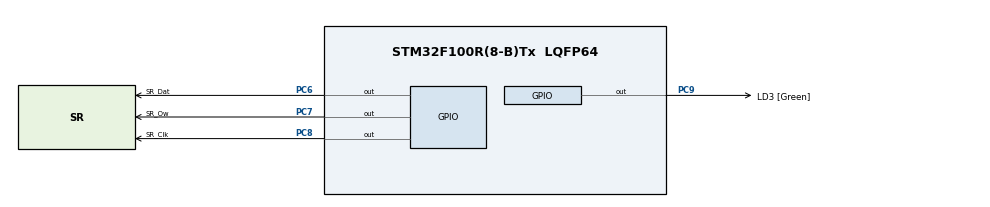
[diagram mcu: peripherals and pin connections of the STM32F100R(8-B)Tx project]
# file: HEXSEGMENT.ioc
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Mcu.Family=STM32F1
Mcu.Name=STM32F100R(8-B)Tx
Mcu.Package=LQFP64
NVIC.PriorityGroup=NVIC_PRIORITYGROUP_4
PA0-WKUP.Mode=SYS_WakeUp0
PA0-WKUP.Signal=SYS_WKUP
PA13.GPIO_Label=TMS_SWDIO
PA13.Mode=Serial_Wire
PA13.Signal=SYS_JTMS-SWDIO
PA14.GPIO_Label=TCK_SWCLK
PA14.Mode=Serial_Wire
PA14.Signal=SYS_JTCK-SWCLK
PC14-OSC32_IN.Mode=LSE-External-Oscillator
PC14-OSC32_IN.Signal=RCC_OSC32_IN
PC15-OSC32_OUT.Mode=LSE-External-Oscillator
PC15-OSC32_OUT.Signal=RCC_OSC32_OUT
PC6.GPIO_Label=SR_Dat
PC6.GPIO_PuPd=GPIO_PULLDOWN
PC6.Signal=GPIO_Output
PC7.GPIO_Label=SR_Ow
PC7.GPIO_PuPd=GPIO_PULLDOWN
PC7.Signal=GPIO_Output
PC8.GPIO_Label=SR_Clk
PC8.GPIO_PuPd=GPIO_PULLDOWN
PC8.Signal=GPIO_Output
PC9.GPIO_Label=LD3 [Green]
PC9.Signal=GPIO_Output
PD0-OSC_IN.Mode=HSE-External-Oscillator
PD0-OSC_IN.Signal=RCC_OSC_IN
PD1-OSC_OUT.Mode=HSE-External-Oscillator
PD1-OSC_OUT.Signal=RCC_OSC_OUT
ProjectManager.HeapSize=0x200
ProjectManager.StackSize=0x400
ProjectManager.TargetToolchain=STM32CubeIDE
RCC.APB1Freq_Value=8000000
RCC.APB2Freq_Value=8000000
board=STM32VLDISCOVERY

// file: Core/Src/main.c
/* USER CODE BEGIN Header */
/**
 ******************************************************************************
 * @file           : main.c
 * @brief          : Main program body
 ******************************************************************************
 * @attention
 *
 * Copyright (c) 2024 STMicroelectronics.
 * All rights reserved.
 *
 * This software is licensed under terms that can be found in the LICENSE file
 * in the root directory of this software component.
 * If no LICENSE file comes with this software, it is provided AS-IS.
 *
 ******************************************************************************
 */
/* USER CODE END Header */
#include "main.h"

/* USER CODE BEGIN Includes */

#include "inttypes.h"

/* USER CODE END Includes */

void SystemClock_Config(void);
static void MX_GPIO_Init(void);

/* USER CODE BEGIN 0 */

uint8_t number0[7] = {1, 1, 1, 1, 1, 1, 0};
uint8_t number1[7] = {0, 1, 1, 0, 0, 0, 0};
uint8_t number2[7] = {1, 1, 0, 1, 1, 0, 0};
uint8_t number3[7] = {1, 1, 1, 1, 0, 0, 1};
uint8_t number4[7] = {0, 1, 1, 0, 0, 1, 1};
uint8_t number5[7] = {1, 0, 1, 1, 0, 1, 1};
uint8_t number6[7] = {1, 0, 1, 1, 1, 1, 1};
uint8_t number7[7] = {1, 1, 1, 0, 0, 0, 0};
uint8_t number8[7] = {1, 1, 1, 1, 1, 1, 1};
uint8_t number9[7] = {1, 1, 1, 1, 0, 1, 1};

static void pushClk()
{
   HAL_GPIO_WritePin(GPIOC, SR_Clk_Pin, GPIO_PIN_SET);
   HAL_Delay(10);
   HAL_GPIO_WritePin(GPIOC, SR_Dat_Pin, GPIO_PIN_RESET);
   HAL_Delay(10);
}

static void pushClkOw()
{
   HAL_GPIO_WritePin(GPIOC, SR_Ow_Pin, GPIO_PIN_SET);
   HAL_Delay(10);
   HAL_GPIO_WritePin(GPIOC, SR_Ow_Pin, GPIO_PIN_RESET);
   HAL_Delay(10);
}

static void pushBit(uint8_t is_on)
{
   if (is_on) {
      HAL_GPIO_WritePin(GPIOC, SR_Dat_Pin, GPIO_PIN_SET);
      HAL_Delay(10);
      pushClk();
   } else {
      HAL_GPIO_WritePin(GPIOC, SR_Dat_Pin, GPIO_PIN_RESET);
      HAL_Delay(10);
      pushClk();
   }
}

void pushNumber(uint8_t number)
{
   if (number == 0) {
      for (uint8_t i = 0; i < 7; ++i) {
         pushBit(number0[i]);
      }
   }
   if (number == 1) {
      for (uint8_t i = 0; i < 7; ++i) {
         pushBit(number1[i]);
      }
   }
   pushClkOw();
}

/* USER CODE END 0 */

int main(void)
{

   /* MCU
    * Configuration--------------------------------------------------------*/

   /* Reset of all peripherals, Initializes the Flash interface and the Systick.
    */
   HAL_Init();

   /* Configure the system clock */
   SystemClock_Config();

   /* Initialize all configured peripherals */
   MX_GPIO_Init();

   /* Infinite loop */
   /* USER CODE BEGIN WHILE */
   while (1) {
      pushNumber(0);
      HAL_Delay(1000);
      pushNumber(1);
      HAL_Delay(1000);
      /* USER CODE END WHILE */

   }
}

void SystemClock_Config(void)
{
   RCC_OscInitTypeDef RCC_OscInitStruct = {0};
   RCC_ClkInitTypeDef RCC_ClkInitStruct = {0};

   /** Initializes the RCC Oscillators according to the specified parameters
    * in the RCC_OscInitTypeDef structure.
    */
   RCC_OscInitStruct.OscillatorType = RCC_OSCILLATORTYPE_HSI;
   RCC_OscInitStruct.HSIState = RCC_HSI_ON;
   RCC_OscInitStruct.HSICalibrationValue = RCC_HSICALIBRATION_DEFAULT;
   RCC_OscInitStruct.PLL.PLLState = RCC_PLL_NONE;
   if (HAL_RCC_OscConfig(&RCC_OscInitStruct) != HAL_OK) {
      Error_Handler();
   }

   /** Initializes the CPU, AHB and APB buses clocks
    */
   RCC_ClkInitStruct.ClockType = RCC_CLOCKTYPE_HCLK | RCC_CLOCKTYPE_SYSCLK |
                                 RCC_CLOCKTYPE_PCLK1 | RCC_CLOCKTYPE_PCLK2;
   RCC_ClkInitStruct.SYSCLKSource = RCC_SYSCLKSOURCE_HSI;
   RCC_ClkInitStruct.AHBCLKDivider = RCC_SYSCLK_DIV1;
   RCC_ClkInitStruct.APB1CLKDivider = RCC_HCLK_DIV1;
   RCC_ClkInitStruct.APB2CLKDivider = RCC_HCLK_DIV1;

   if (HAL_RCC_ClockConfig(&RCC_ClkInitStruct, FLASH_LATENCY_0) != HAL_OK) {
      Error_Handler();
   }
}

static void MX_GPIO_Init(void)
{
   GPIO_InitTypeDef GPIO_InitStruct = {0};

   /* GPIO Ports Clock Enable */
   __HAL_RCC_GPIOC_CLK_ENABLE();
   __HAL_RCC_GPIOD_CLK_ENABLE();
   __HAL_RCC_GPIOA_CLK_ENABLE();

   /*Configure GPIO pin Output Level */
   HAL_GPIO_WritePin(GPIOC, SR_Dat_Pin | SR_Ow_Pin | SR_Clk_Pin | LD3_Pin,
                     GPIO_PIN_RESET);

   /*Configure GPIO pins : SR_Dat_Pin SR_Ow_Pin SR_Clk_Pin */
   GPIO_InitStruct.Pin = SR_Dat_Pin | SR_Ow_Pin | SR_Clk_Pin;
   GPIO_InitStruct.Mode = GPIO_MODE_OUTPUT_PP;
   GPIO_InitStruct.Pull = GPIO_PULLDOWN;
   GPIO_InitStruct.Speed = GPIO_SPEED_FREQ_LOW;
   HAL_GPIO_Init(GPIOC, &GPIO_InitStruct);

   /*Configure GPIO pin : LD3_Pin */
   GPIO_InitStruct.Pin = LD3_Pin;
   GPIO_InitStruct.Mode = GPIO_MODE_OUTPUT_PP;
   GPIO_InitStruct.Pull = GPIO_NOPULL;
   GPIO_InitStruct.Speed = GPIO_SPEED_FREQ_LOW;
   HAL_GPIO_Init(LD3_GPIO_Port, &GPIO_InitStruct);

}

void Error_Handler(void)
{
   /* USER CODE BEGIN Error_Handler_Debug */
   /* User can add his own implementation to report the HAL error return state
    */
   __disable_irq();
   while (1) {
   }
   /* USER CODE END Error_Handler_Debug */
}

#ifdef USE_FULL_ASSERT
/**
 * @brief  Reports the name of the source file and the source line number
 *         where the assert_param error has occurred.
 * @param  file: pointer to the source file name
 * @param  line: assert_param error line source number
 * @retval None
 */
void assert_failed(uint8_t *file, uint32_t line)
{
   /* USER CODE BEGIN 6 */
   /* User can add his own implementation to report the file name and line
      number, ex: printf("Wrong parameters value: file %s on line %d\r\n", file,
      line) */
   /* USER CODE END 6 */
}
#endif /* USE_FULL_ASSERT */
